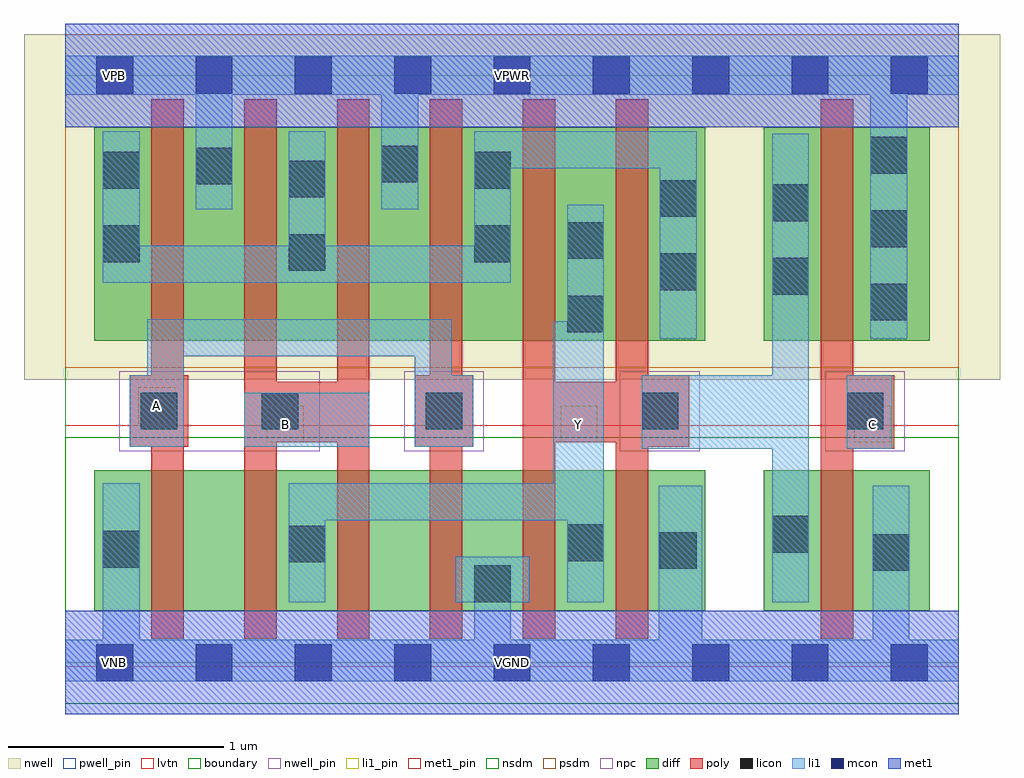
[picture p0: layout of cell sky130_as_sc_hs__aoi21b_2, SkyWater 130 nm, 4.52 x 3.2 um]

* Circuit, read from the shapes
.subckt sky130_as_sc_hs__aoi21b_2 A B C VGND VNB VPB VPWR Y
XM1 n1 A VGND VNB sky130_fd_pr__nfet_01v8_lvt w=0.65 l=0.15
XM2 Y B n1 VNB sky130_fd_pr__nfet_01v8_lvt w=0.65 l=0.15
XM3 n2 B Y VNB sky130_fd_pr__nfet_01v8_lvt w=0.65 l=0.15
XM4 VGND A n2 VNB sky130_fd_pr__nfet_01v8_lvt w=0.65 l=0.15
XM5 Y n3 VGND VNB sky130_fd_pr__nfet_01v8_lvt w=0.65 l=0.15 m=2
XM6 VGND C n3 VNB sky130_fd_pr__nfet_01v8_lvt w=0.65 l=0.15
XM7 VPWR A n4 VPB sky130_fd_pr__pfet_01v8 w=0.99 l=0.15 m=2
XM8 n4 B VPWR VPB sky130_fd_pr__pfet_01v8 w=0.99 l=0.15 m=2
XM9 Y n3 n4 VPB sky130_fd_pr__pfet_01v8 w=0.99 l=0.15 m=2
XM10 VPWR C n3 VPB sky130_fd_pr__pfet_01v8 w=0.99 l=0.15
.ends

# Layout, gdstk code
import gdstk
lib = gdstk.Library(unit=1e-6, precision=1e-09)
def R(c, l, rs):  # rectangles x0, y0, x1, y1
    for r in rs: c.add(gdstk.rectangle(r[:2], r[2:], *l))
def A(c, l, x, y, w, h, nx, ny, dx, dy):  # array of equal rectangles
    R(c, l, [(x+i*dx, y+j*dy, x+i*dx+w, y+j*dy+h) for i in range(nx) for j in range(ny)])
nwell_pin = (64, 16)
nwell = (64, 20)
diff = (65, 20)
poly = (66, 20)
licon = (66, 44)
li1_pin = (67, 16)
li1 = (67, 20)
mcon = (67, 44)
met1_pin = (68, 16)
met1 = (68, 20)
nsdm = (93, 44)
psdm = (94, 20)
npc = (95, 20)
pwell_pin = (122, 16)
lvtn = (125, 44)
boundary = (235, 4)

sky130_as_sc_hs__aoi21b_ = lib.new_cell('sky130_as_sc_hs__aoi21b_2')
R(sky130_as_sc_hs__aoi21b_, nwell_pin, [(0.145,2.635,0.315,2.805)])
R(sky130_as_sc_hs__aoi21b_, nwell, [(-0.19,1.31,4.33,2.91)])
R(sky130_as_sc_hs__aoi21b_, diff, [(0.135,0.24,2.965,0.89), (3.235,0.24,4.005,0.89), (0.135,1.49,2.965,2.48), (3.235,1.49,4.005,2.48)])
R(sky130_as_sc_hs__aoi21b_, poly, [(0.4,0.11,0.55,1), (0.83,0.11,0.98,1.02), (1.26,0.11,1.41,1.02), (1.69,0.11,1.84,1), (2.12,0.11,2.27,1.02), (2.55,0.11,2.7,1), (3.5,0.11,3.65,0.99), (3.5,0.99,3.84,1.33), (0.3,1,0.57,1.33), (1.62,1,1.89,1.33), (2.55,1,2.89,1.02), (0.83,1.02,1.41,1.3), (2.12,1.02,2.89,1.3), (0.83,1.3,0.98,2.61), (1.26,1.3,1.41,2.61), (2.12,1.3,2.27,2.61), (2.55,1.3,2.89,1.33), (0.4,1.33,0.55,2.61), (1.69,1.33,1.84,2.61), (2.55,1.33,2.7,2.61), (3.5,1.33,3.65,2.61)])
A(sky130_as_sc_hs__aoi21b_, licon, 3.73, 1.585, 0.17, 0.17, 1, 3, 0, 0.34)
R(sky130_as_sc_hs__aoi21b_, licon, [(1.895,0.28,2.065,0.45), (3.74,0.425,3.91,0.595), (2.755,0.435,2.925,0.605), (0.175,0.44,0.345,0.61), (1.035,0.465,1.205,0.635), (2.325,0.47,2.495,0.64), (3.275,0.51,3.445,0.68), (0.35,1.08,0.52,1.25), (0.91,1.08,1.08,1.25), (1.67,1.08,1.84,1.25), (2.67,1.08,2.84,1.25), (3.62,1.08,3.79,1.25), (2.325,1.53,2.495,1.7), (3.275,1.705,3.445,1.875), (2.755,1.725,2.925,1.895), (1.035,1.815,1.205,1.985), (0.175,1.855,0.345,2.025), (1.895,1.855,2.065,2.025), (2.325,1.87,2.495,2.04), (3.275,2.045,3.445,2.215), (2.755,2.065,2.925,2.235), (1.035,2.155,1.205,2.325), (0.175,2.195,0.345,2.365), (1.895,2.195,2.065,2.365), (0.605,2.215,0.775,2.385), (1.465,2.225,1.635,2.395)])
A(sky130_as_sc_hs__aoi21b_, li1_pin, 0.935, 1.02, 0.17, 0.17, 3, 1, 1.36, 0)
R(sky130_as_sc_hs__aoi21b_, li1_pin, [(0.34,1.105,0.51,1.275)])
R(sky130_as_sc_hs__aoi21b_, li1, [(0,-0.085,4.14,0.105), (0.175,0.105,0.345,0.83), (1.895,0.105,2.065,0.28), (2.75,0.105,2.95,0.82), (3.74,0.105,3.91,0.82), (1.035,0.28,1.205,0.66), (1.81,0.28,2.15,0.49), (2.325,0.28,2.495,0.66), (3.275,0.28,3.445,0.99), (1.035,0.66,2.495,0.83), (2.26,0.83,2.495,1.58), (2.67,0.99,3.445,1.33), (3.62,0.99,3.83,1.33), (0.3,1,0.55,1.33), (0.83,1,1.41,1.25), (1.62,1,1.89,1.33), (0.38,1.33,0.55,1.42), (1.62,1.33,1.79,1.42), (3.275,1.33,3.445,2.45), (0.38,1.42,1.79,1.59), (2.755,1.5,2.925,2.29), (3.73,1.5,3.9,2.63), (2.325,1.58,2.495,2.12), (0.175,1.76,2.065,1.93), (0.175,1.93,0.345,2.46), (1.035,1.93,1.205,2.46), (1.895,1.93,2.065,2.29), (0.605,2.1,0.775,2.63), (1.465,2.1,1.635,2.63), (1.895,2.29,2.925,2.46), (0,2.63,4.14,2.81)])
A(sky130_as_sc_hs__aoi21b_, mcon, 0.145, -0.085, 0.17, 0.17, 9, 2, 0.46, 2.72)
R(sky130_as_sc_hs__aoi21b_, met1_pin, [(0,-0.24,4.14,0.24), (0.145,-0.085,0.315,0.085), (0,2.48,4.14,2.96), (0.145,2.635,0.315,2.805)])
R(sky130_as_sc_hs__aoi21b_, met1, [(0,-0.24,4.14,0.24), (0,2.48,4.14,2.96)])
R(sky130_as_sc_hs__aoi21b_, nsdm, [(0,-0.19,4.14,1.045)])
R(sky130_as_sc_hs__aoi21b_, psdm, [(0,1.365,4.14,2.91)])
R(sky130_as_sc_hs__aoi21b_, npc, [(0.25,0.98,1.18,1.35), (1.57,0.98,1.94,1.35), (2.57,0.98,2.94,1.35), (3.52,0.98,3.89,1.35)])
R(sky130_as_sc_hs__aoi21b_, pwell_pin, [(0.145,-0.085,0.315,0.085)])
R(sky130_as_sc_hs__aoi21b_, lvtn, [(0,-0.02,4.14,1.1)])
R(sky130_as_sc_hs__aoi21b_, boundary, [(0,0,4.14,2.72)])
sky130_as_sc_hs__aoi21b_.add(gdstk.Label('VNB', (0.23,0), layer=64, texttype=59))
sky130_as_sc_hs__aoi21b_.add(gdstk.Label('VPB', (0.23,2.72), layer=64, texttype=5))
sky130_as_sc_hs__aoi21b_.add(gdstk.Label('A', (0.425,1.19), layer=67, texttype=5))
sky130_as_sc_hs__aoi21b_.add(gdstk.Label('B', (1.02,1.105), layer=67, texttype=5))
sky130_as_sc_hs__aoi21b_.add(gdstk.Label('C', (3.74,1.105), layer=67, texttype=5))
sky130_as_sc_hs__aoi21b_.add(gdstk.Label('Y', (2.38,1.105), layer=67, texttype=5))
sky130_as_sc_hs__aoi21b_.add(gdstk.Label('VNB', (0.23,0), layer=64, texttype=59))
sky130_as_sc_hs__aoi21b_.add(gdstk.Label('VPB', (0.23,2.72), layer=64, texttype=5))
sky130_as_sc_hs__aoi21b_.add(gdstk.Label('VPWR', (2.07,2.72), layer=68, texttype=5))
sky130_as_sc_hs__aoi21b_.add(gdstk.Label('VPWR', (0.23,2.72), layer=68, texttype=5))
sky130_as_sc_hs__aoi21b_.add(gdstk.Label('VGND', (2.07,0), layer=68, texttype=5))
sky130_as_sc_hs__aoi21b_.add(gdstk.Label('VGND', (0.23,0), layer=68, texttype=5))
sky130_as_sc_hs__aoi21b_.add(gdstk.Label('A', (0.425,1.19), layer=67, texttype=5))
sky130_as_sc_hs__aoi21b_.add(gdstk.Label('B', (1.02,1.105), layer=67, texttype=5))
sky130_as_sc_hs__aoi21b_.add(gdstk.Label('C', (3.74,1.105), layer=67, texttype=5))
sky130_as_sc_hs__aoi21b_.add(gdstk.Label('Y', (2.38,1.105), layer=67, texttype=5))

lib.write_gds('sky130_as_sc_hs__aoi21b_2.gds')
